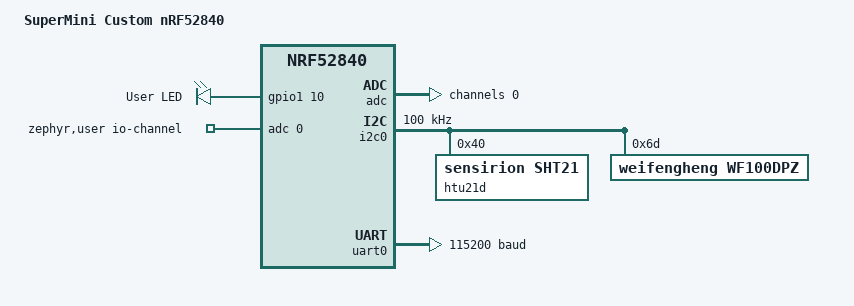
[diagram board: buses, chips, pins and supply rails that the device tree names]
/dts-v1/;

#include <nordic/nrf52840_qiaa.dtsi>
#include <zephyr/dt-bindings/gpio/gpio.h>
#include <zephyr/dt-bindings/i2c/i2c.h>
#include "supermini_custom-pinctrl.dtsi"

/ {
	model = "SuperMini Custom nRF52840";
	compatible = "others,supermini-custom";

	chosen {
		zephyr,sram = &sram0;
		zephyr,flash = &flash0;
		zephyr,console = &uart0;
	};

	leds {
		compatible = "gpio-leds";

		user_led: led_0 {
			gpios = <&gpio1 10 GPIO_ACTIVE_HIGH>;
			label = "User LED";
		};
	};

	aliases {
		led0 = &user_led;
	};

	zephyr,user {
		io-channels = <&adc 0>;
	};
};

&adc {
	#address-cells = <1>;
	#size-cells = <0>;
	status = "okay";

	channel@0 {
		reg = <0>;
		zephyr,gain = "ADC_GAIN_1_6";
		zephyr,reference = "ADC_REF_INTERNAL";
		zephyr,acquisition-time = <ADC_ACQ_TIME_DEFAULT>;
		zephyr,input-positive = <NRF_SAADC_VDD>;
		zephyr,resolution = <14>;
		zephyr,oversampling = <8>;
	};
};

&gpiote {
	status = "okay";
};

&gpio0 {
	status = "okay";
};

&gpio1 {
	status = "okay";
};

&i2c0 {
	compatible = "nordic,nrf-twim";
	clock-frequency = <I2C_BITRATE_STANDARD>;
	pinctrl-0 = <&i2c0_default>;
	pinctrl-1 = <&i2c0_sleep>;
	pinctrl-names = "default", "sleep";
	status = "okay";

	htu21d: htu21d@40 {
		compatible = "sensirion,sht21";
		reg = <0x40>;
	};

	wf100dpz: pressure-sensor@6d {
		compatible = "weifengheng,wf100dpz";
		reg = <0x6d>;
	};
};

&uart0 {
	compatible = "nordic,nrf-uarte";
	current-speed = <115200>;
	pinctrl-0 = <&uart0_default>;
	pinctrl-1 = <&uart0_sleep>;
	pinctrl-names = "default", "sleep";
	status = "okay";
};

&uicr {
	nfct-pins-as-gpios;
	gpio-as-nreset;
};
